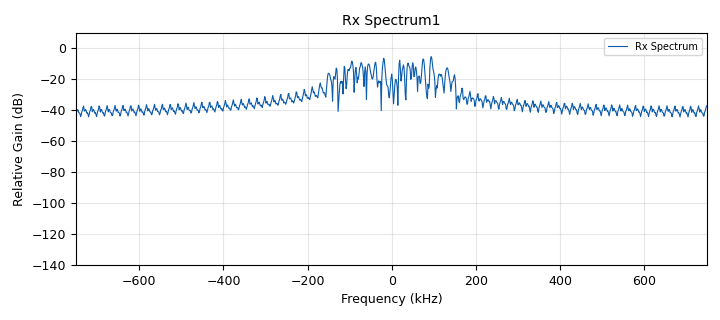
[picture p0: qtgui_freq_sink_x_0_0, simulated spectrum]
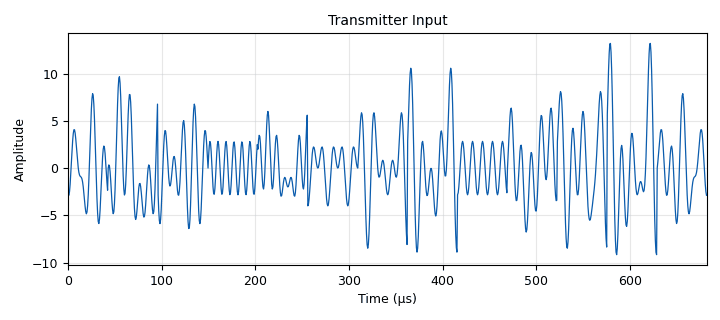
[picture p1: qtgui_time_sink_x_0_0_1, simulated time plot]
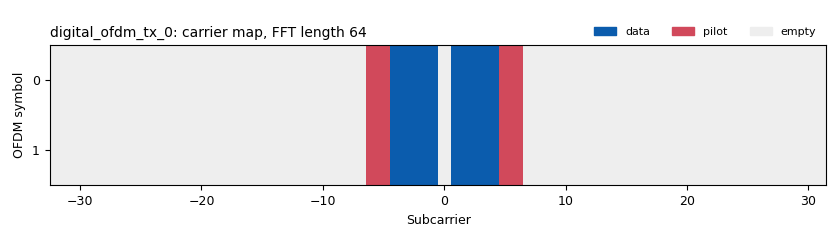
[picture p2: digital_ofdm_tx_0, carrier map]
options:
  parameters:
    category: Custom
    description: Transmit a pre-defined signal (a complex sine) as OFDM packets.
    generate_options: qt_gui
    id: ofdm_loopback_example
    output_language: python
    title: OFDM Loopback Example
  states: {}

blocks:
- name: fft_len
  id: variable
  parameters:
    value: '64'
  states: {}
- name: freq_offset
  id: variable_qtgui_range
  parameters:
    label: Frequency Offset (Multiples of Sub-carrier spacing)
    start: '-3'
    step: '.01'
    stop: '3'
    value: '0'
  states: {}
- name: len_tag_key
  id: variable
  parameters:
    value: '"packet_len"'
  states: {}
- name: noise_voltage
  id: variable_qtgui_range
  parameters:
    label: Noise Amplitude
    start: '0'
    step: '.01'
    stop: '1'
    value: '0.1'
  states: {}
- name: packet_len
  id: variable
  parameters:
    value: '50'
  states: {}
- name: rf_rate
  id: variable
  parameters:
    value: '1500000'
  states: {}
- name: samp_rate
  id: variable
  parameters:
    value: '1500000'
  states: {}
- name: blocks_complex_to_float_0
  id: blocks_complex_to_float
  parameters: {}
  states: {}
- name: blocks_complex_to_float_0_1
  id: blocks_complex_to_float
  parameters: {}
  states: {}
- name: blocks_multiply_const_vxx_0_0
  id: blocks_multiply_const_vxx
  parameters:
    const: '0.05'
    type: complex
  states: {}
- name: blocks_stream_to_tagged_stream_0
  id: blocks_stream_to_tagged_stream
  parameters:
    len_tag_key: len_tag_key
    packet_len: packet_len
    type: byte
  states: {}
- name: blocks_tag_debug_0
  id: blocks_tag_debug
  parameters:
    display: 'False'
    name: Rx Packets
    type: byte
  states: {}
- name: blocks_uchar_to_float_0
  id: blocks_uchar_to_float
  parameters: {}
  states: {}
- name: blocks_vector_source_x_0
  id: blocks_vector_source_x
  parameters:
    repeat: 'True'
    tags: ()
    type: byte
    vector: range(packet_len)
  states: {}
- name: digital_ofdm_rx_0
  id: digital_ofdm_rx
  parameters:
    cp_len: fft_len//4
    fft_len: fft_len
    header_mod: '"BPSK"'
    occupied_carriers: ((-4,-3,-2,-1,1,2,3,4),)
    packet_len_key: '"rx_len"'
    payload_mod: '"QPSK"'
    pilot_carriers: ((-6,-5,5,6),)
    pilot_symbols: ((-1,1,-1,1),)
    sync_word1: None
    sync_word2: None
  states: {}
- name: digital_ofdm_tx_0
  id: digital_ofdm_tx
  parameters:
    cp_len: fft_len//4
    fft_len: fft_len
    header_mod: '"BPSK"'
    log: 'True'
    occupied_carriers: ((-4,-3,-2,-1,1,2,3,4),)
    packet_len_key: len_tag_key
    payload_mod: '"QPSK"'
    pilot_carriers: ((-6,-5,5,6),)
    pilot_symbols: ((-1,1,-1,1),)
    rolloff: '0'
    sync_word1: None
    sync_word2: None
  states: {}
- name: limesdr_sink_0
  id: limesdr_sink
  parameters:
    allow_tcxo_dac: '0'
    calibr_bandw_ch0: 5e6
    calibr_bandw_ch1: 5e6
    channel_mode: '0'
    dacVal: '125'
    digital_bandw_ch0: '0'
    digital_bandw_ch1: '0'
    gain_dB_ch0: '60'
    gain_dB_ch1: '30'
    oversample: '0'
    pa_path_ch1: '1'
    rf_freq: 473e6
    samp_rate: samp_rate
  states: {}
- name: limesdr_source_0
  id: limesdr_source
  parameters:
    allow_tcxo_dac: '0'
    analog_bandw_ch0: 5e6
    analog_bandw_ch1: 5e6
    calibr_bandw_ch0: 5e6
    calibr_bandw_ch1: 5e6
    channel_mode: '0'
    dacVal: '125'
    digital_bandw_ch0: '0'
    digital_bandw_ch1: '0'
    gain_dB_ch0: '70'
    gain_dB_ch1: '30'
    oversample: '0'
    rf_freq: 473e6
    samp_rate: samp_rate
  states: {}
- name: qtgui_freq_sink_x_0
  id: qtgui_freq_sink_x
  parameters:
    bw: samp_rate
    fc: '0'
    fftsize: '1024'
    label1: Rx Spectrum
    name: Rx Spectrum
    showports: 'True'
    type: complex
  states: {}
- name: qtgui_freq_sink_x_0_0
  id: qtgui_freq_sink_x
  parameters:
    bw: samp_rate
    fc: '0'
    fftsize: '1024'
    label1: Rx Spectrum
    name: Rx Spectrum1
    showports: 'True'
    type: complex
  states: {}
- name: qtgui_time_sink_x_0
  id: qtgui_time_sink_x
  parameters:
    autoscale: 'True'
    label1: ''
    name: Scope Plot Output
    size: '1024'
    srate: samp_rate
    type: float
  states: {}
- name: qtgui_time_sink_x_0_0
  id: qtgui_time_sink_x
  parameters:
    autoscale: 'True'
    label1: ''
    name: Receiver Output
    size: '1024'
    srate: samp_rate
    type: float
  states: {}
- name: qtgui_time_sink_x_0_0_1
  id: qtgui_time_sink_x
  parameters:
    autoscale: 'True'
    label1: ''
    name: Transmitter Input
    size: '1024'
    srate: samp_rate
    type: float
  states: {}

connections:
- [blocks_complex_to_float_0, '0', qtgui_time_sink_x_0_0, '0']
- [blocks_complex_to_float_0_1, '0', qtgui_time_sink_x_0_0_1, '0']
- [blocks_multiply_const_vxx_0_0, '0', limesdr_sink_0, '0']
- [blocks_stream_to_tagged_stream_0, '0', digital_ofdm_tx_0, '0']
- [blocks_uchar_to_float_0, '0', qtgui_time_sink_x_0, '0']
- [blocks_vector_source_x_0, '0', blocks_stream_to_tagged_stream_0, '0']
- [digital_ofdm_rx_0, '0', blocks_tag_debug_0, '0']
- [digital_ofdm_rx_0, '0', blocks_uchar_to_float_0, '0']
- [digital_ofdm_tx_0, '0', blocks_complex_to_float_0_1, '0']
- [digital_ofdm_tx_0, '0', blocks_multiply_const_vxx_0_0, '0']
- [digital_ofdm_tx_0, '0', qtgui_freq_sink_x_0_0, '0']
- [limesdr_source_0, '0', blocks_complex_to_float_0, '0']
- [limesdr_source_0, '0', digital_ofdm_rx_0, '0']
- [limesdr_source_0, '0', qtgui_freq_sink_x_0, '0']

metadata:
  file_format: 1
